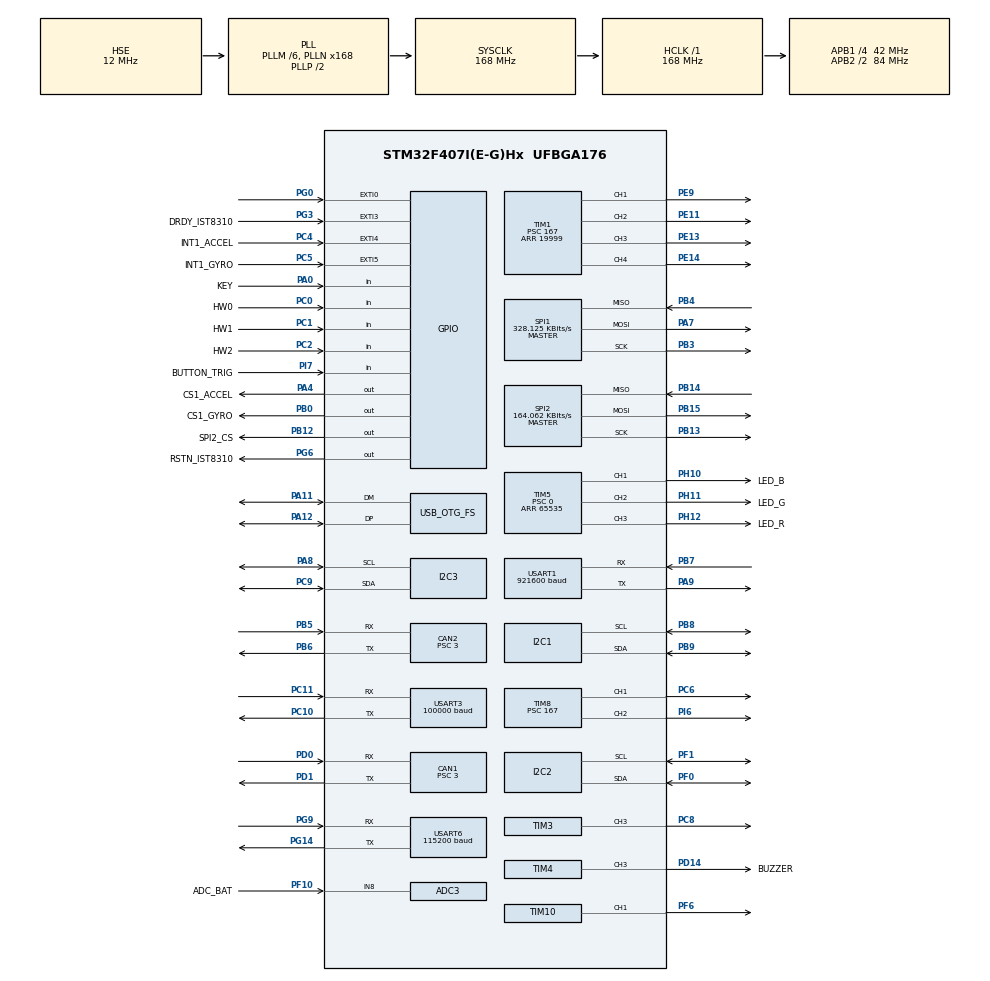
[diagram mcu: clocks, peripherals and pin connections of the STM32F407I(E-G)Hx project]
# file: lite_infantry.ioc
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ADC1.Channel-0\#ChannelRegularConversion=ADC_CHANNEL_TEMPSENSOR
ADC1.ClockPrescaler=ADC_CLOCK_SYNC_PCLK_DIV6
ADC1.NbrOfConversionFlag=1
ADC1.Rank-0\#ChannelRegularConversion=1
ADC1.SamplingTime-0\#ChannelRegularConversion=ADC_SAMPLETIME_3CYCLES
ADC1.master=1
ADC3.Channel-0\#ChannelRegularConversion=ADC_CHANNEL_8
ADC3.ClockPrescaler=ADC_CLOCK_SYNC_PCLK_DIV6
ADC3.NbrOfConversionFlag=1
ADC3.Rank-0\#ChannelRegularConversion=1
ADC3.SamplingTime-0\#ChannelRegularConversion=ADC_SAMPLETIME_3CYCLES
CAN1.BS1=CAN_BS1_10TQ
CAN1.BS2=CAN_BS2_3TQ
CAN1.CalculateBaudRate=1000000
CAN1.CalculateTimeBit=1000
CAN1.CalculateTimeQuantum=71.42857142857143
CAN1.Prescaler=3
CAN2.BS1=CAN_BS1_10TQ
CAN2.BS2=CAN_BS2_3TQ
CAN2.CalculateBaudRate=1000000
CAN2.CalculateTimeBit=1000
CAN2.CalculateTimeQuantum=71.42857142857143
CAN2.Prescaler=3
Dma.I2C2_TX.2.Direction=DMA_MEMORY_TO_PERIPH
Dma.I2C2_TX.2.FIFOMode=DMA_FIFOMODE_DISABLE
Dma.I2C2_TX.2.Instance=DMA1_Stream7
Dma.I2C2_TX.2.MemDataAlignment=DMA_MDATAALIGN_BYTE
Dma.I2C2_TX.2.MemInc=DMA_MINC_ENABLE
Dma.I2C2_TX.2.Mode=DMA_NORMAL
Dma.I2C2_TX.2.PeriphDataAlignment=DMA_PDATAALIGN_BYTE
Dma.I2C2_TX.2.PeriphInc=DMA_PINC_DISABLE
Dma.I2C2_TX.2.Priority=DMA_PRIORITY_HIGH
Dma.Request0=SPI1_RX
Dma.Request1=SPI1_TX
Dma.Request2=I2C2_TX
Dma.Request3=USART3_RX
Dma.Request4=USART6_RX
Dma.Request5=USART6_TX
Dma.Request6=USART1_TX
Dma.SPI1_RX.0.Direction=DMA_PERIPH_TO_MEMORY
Dma.SPI1_RX.0.FIFOMode=DMA_FIFOMODE_DISABLE
Dma.SPI1_RX.0.Instance=DMA2_Stream2
Dma.SPI1_RX.0.MemDataAlignment=DMA_MDATAALIGN_BYTE
Dma.SPI1_RX.0.MemInc=DMA_MINC_ENABLE
Dma.SPI1_RX.0.Mode=DMA_NORMAL
Dma.SPI1_RX.0.PeriphDataAlignment=DMA_PDATAALIGN_BYTE
Dma.SPI1_RX.0.PeriphInc=DMA_PINC_DISABLE
Dma.SPI1_RX.0.Priority=DMA_PRIORITY_VERY_HIGH
Dma.SPI1_TX.1.Direction=DMA_MEMORY_TO_PERIPH
Dma.SPI1_TX.1.FIFOMode=DMA_FIFOMODE_DISABLE
Dma.SPI1_TX.1.Instance=DMA2_Stream3
Dma.SPI1_TX.1.MemDataAlignment=DMA_MDATAALIGN_BYTE
Dma.SPI1_TX.1.MemInc=DMA_MINC_ENABLE
Dma.SPI1_TX.1.Mode=DMA_NORMAL
Dma.SPI1_TX.1.PeriphDataAlignment=DMA_PDATAALIGN_BYTE
Dma.SPI1_TX.1.PeriphInc=DMA_PINC_DISABLE
Dma.SPI1_TX.1.Priority=DMA_PRIORITY_HIGH
Dma.USART1_TX.6.Direction=DMA_MEMORY_TO_PERIPH
Dma.USART1_TX.6.FIFOMode=DMA_FIFOMODE_DISABLE
Dma.USART1_TX.6.Instance=DMA2_Stream7
Dma.USART1_TX.6.MemDataAlignment=DMA_MDATAALIGN_BYTE
Dma.USART1_TX.6.MemInc=DMA_MINC_ENABLE
Dma.USART1_TX.6.Mode=DMA_NORMAL
Dma.USART1_TX.6.PeriphDataAlignment=DMA_PDATAALIGN_BYTE
Dma.USART1_TX.6.PeriphInc=DMA_PINC_DISABLE
Dma.USART1_TX.6.Priority=DMA_PRIORITY_MEDIUM
Dma.USART3_RX.3.Direction=DMA_PERIPH_TO_MEMORY
Dma.USART3_RX.3.FIFOMode=DMA_FIFOMODE_DISABLE
Dma.USART3_RX.3.Instance=DMA1_Stream1
Dma.USART3_RX.3.MemDataAlignment=DMA_MDATAALIGN_BYTE
Dma.USART3_RX.3.MemInc=DMA_MINC_ENABLE
Dma.USART3_RX.3.Mode=DMA_NORMAL
Dma.USART3_RX.3.PeriphDataAlignment=DMA_PDATAALIGN_BYTE
Dma.USART3_RX.3.PeriphInc=DMA_PINC_DISABLE
Dma.USART3_RX.3.Priority=DMA_PRIORITY_HIGH
Dma.USART6_RX.4.Direction=DMA_PERIPH_TO_MEMORY
Dma.USART6_RX.4.FIFOMode=DMA_FIFOMODE_DISABLE
Dma.USART6_RX.4.Instance=DMA2_Stream1
Dma.USART6_RX.4.MemDataAlignment=DMA_MDATAALIGN_BYTE
Dma.USART6_RX.4.MemInc=DMA_MINC_ENABLE
Dma.USART6_RX.4.Mode=DMA_NORMAL
Dma.USART6_RX.4.PeriphDataAlignment=DMA_PDATAALIGN_BYTE
Dma.USART6_RX.4.PeriphInc=DMA_PINC_DISABLE
Dma.USART6_RX.4.Priority=DMA_PRIORITY_HIGH
Dma.USART6_TX.5.Direction=DMA_MEMORY_TO_PERIPH
Dma.USART6_TX.5.FIFOMode=DMA_FIFOMODE_DISABLE
Dma.USART6_TX.5.Instance=DMA2_Stream6
Dma.USART6_TX.5.MemDataAlignment=DMA_MDATAALIGN_BYTE
Dma.USART6_TX.5.MemInc=DMA_MINC_ENABLE
Dma.USART6_TX.5.Mode=DMA_NORMAL
Dma.USART6_TX.5.PeriphDataAlignment=DMA_PDATAALIGN_BYTE
Dma.USART6_TX.5.PeriphInc=DMA_PINC_DISABLE
Dma.USART6_TX.5.Priority=DMA_PRIORITY_MEDIUM
FREERTOS.INCLUDE_eTaskGetState=1
FREERTOS.INCLUDE_pcTaskGetTaskName=1
FREERTOS.INCLUDE_uxTaskGetStackHighWaterMark=1
FREERTOS.INCLUDE_vTaskCleanUpResources=1
FREERTOS.INCLUDE_vTaskDelayUntil=1
FREERTOS.INCLUDE_xEventGroupSetBitFromISR=1
FREERTOS.INCLUDE_xQueueGetMutexHolder=1
FREERTOS.INCLUDE_xSemaphoreGetMutexHolder=1
FREERTOS.INCLUDE_xTaskAbortDelay=1
FREERTOS.INCLUDE_xTaskGetCurrentTaskHandle=1
FREERTOS.INCLUDE_xTaskGetHandle=1
FREERTOS.INCLUDE_xTimerPendFunctionCall=1
FREERTOS.Tasks01=test,24,128,test_task,As weak,NULL,Dynamic,NULL,NULL
FREERTOS.configTOTAL_HEAP_SIZE=24576
I2C1.I2C_Mode=I2C_Fast
I2C2.I2C_Mode=I2C_Fast
I2C3.I2C_Mode=I2C_Fast
Mcu.Family=STM32F4
Mcu.Name=STM32F407I(E-G)Hx
Mcu.Package=UFBGA176
NVIC.CAN1_RX0_IRQn=true\:6\:0\:true\:false\:true\:true\:true\:true\:true
NVIC.CAN2_RX1_IRQn=true\:5\:0\:false\:false\:true\:true\:true\:true\:true
NVIC.DMA1_Stream1_IRQn=true\:5\:0\:true\:false\:false\:true\:false\:false\:true
NVIC.DMA1_Stream7_IRQn=true\:5\:0\:true\:false\:false\:true\:false\:true\:true
NVIC.DMA2_Stream1_IRQn=true\:5\:0\:true\:false\:true\:true\:false\:true\:true
NVIC.DMA2_Stream2_IRQn=true\:5\:0\:true\:false\:false\:true\:false\:true\:true
NVIC.DMA2_Stream3_IRQn=true\:5\:0\:true\:false\:false\:true\:false\:true\:true
NVIC.DMA2_Stream6_IRQn=true\:5\:0\:true\:false\:true\:true\:false\:true\:true
NVIC.DMA2_Stream7_IRQn=true\:5\:0\:true\:false\:true\:true\:false\:true\:true
NVIC.EXTI0_IRQn=true\:6\:0\:true\:false\:true\:true\:true\:true\:true
NVIC.EXTI3_IRQn=true\:5\:0\:true\:false\:true\:true\:true\:true\:true
NVIC.EXTI4_IRQn=true\:5\:0\:true\:false\:true\:true\:true\:true\:true
NVIC.EXTI9_5_IRQn=true\:5\:0\:true\:false\:true\:true\:true\:true\:true
NVIC.OTG_FS_IRQn=true\:5\:0\:false\:false\:true\:true\:false\:true\:true
NVIC.PriorityGroup=NVIC_PRIORITYGROUP_4
NVIC.USART1_IRQn=true\:5\:0\:false\:false\:true\:true\:true\:true\:true
NVIC.USART3_IRQn=true\:4\:0\:true\:false\:false\:false\:true\:true\:true
NVIC.USART6_IRQn=true\:5\:0\:true\:false\:false\:true\:true\:true\:true
PA0-WKUP.GPIO_Label=KEY
PA0-WKUP.GPIO_PuPd=GPIO_PULLUP
PA0-WKUP.Signal=GPIO_Input
PA11.Mode=Device_Only
PA11.Signal=USB_OTG_FS_DM
PA12.Mode=Device_Only
PA12.Signal=USB_OTG_FS_DP
PA13.Mode=Serial_Wire
PA13.Signal=SYS_JTMS-SWDIO
PA14.Mode=Serial_Wire
PA14.Signal=SYS_JTCK-SWCLK
PA4.GPIO_Label=CS1_ACCEL
PA4.GPIO_PuPd=GPIO_PULLUP
PA4.GPIO_Speed=GPIO_SPEED_FREQ_HIGH
PA4.PinState=GPIO_PIN_SET
PA4.Signal=GPIO_Output
PA7.GPIO_PuPd=GPIO_PULLUP
PA7.Mode=Full_Duplex_Master
PA7.Signal=SPI1_MOSI
PA8.GPIO_Pu=GPIO_PULLUP
PA8.Mode=I2C
PA8.Signal=I2C3_SCL
PA9.Mode=Asynchronous
PA9.Signal=USART1_TX
PB0.GPIO_Label=CS1_GYRO
PB0.GPIO_PuPd=GPIO_PULLUP
PB0.GPIO_Speed=GPIO_SPEED_FREQ_HIGH
PB0.PinState=GPIO_PIN_SET
PB0.Signal=GPIO_Output
PB12.GPIO_Label=SPI2_CS
PB12.GPIO_PuPd=GPIO_PULLUP
PB12.GPIO_Speed=GPIO_SPEED_FREQ_MEDIUM
PB12.PinState=GPIO_PIN_SET
PB12.Signal=GPIO_Output
PB13.GPIO_PuPd=GPIO_PULLUP
PB13.Mode=Full_Duplex_Master
PB13.Signal=SPI2_SCK
PB14.GPIO_PuPd=GPIO_PULLUP
PB14.Mode=Full_Duplex_Master
PB14.Signal=SPI2_MISO
PB15.GPIO_PuPd=GPIO_PULLUP
PB15.Mode=Full_Duplex_Master
PB15.Signal=SPI2_MOSI
PB3.GPIO_PuPd=GPIO_PULLUP
PB3.Mode=Full_Duplex_Master
PB3.Signal=SPI1_SCK
PB4.GPIO_PuPd=GPIO_PULLUP
PB4.Mode=Full_Duplex_Master
PB4.Signal=SPI1_MISO
PB5.Mode=CAN_Activate
PB5.Signal=CAN2_RX
PB6.Mode=CAN_Activate
PB6.Signal=CAN2_TX
PB7.Mode=Asynchronous
PB7.Signal=USART1_RX
PB8.GPIO_Pu=GPIO_PULLUP
PB8.Mode=I2C
PB8.Signal=I2C1_SCL
PB9.GPIO_Pu=GPIO_PULLUP
PB9.Mode=I2C
PB9.Signal=I2C1_SDA
PC0.GPIO_Label=HW0
PC0.Signal=GPIO_Input
PC1.GPIO_Label=HW1
PC1.Signal=GPIO_Input
PC10.Mode=Asynchronous
PC10.Signal=USART3_TX
PC11.Mode=Asynchronous
PC11.Signal=USART3_RX
PC2.GPIO_Label=HW2
PC2.Signal=GPIO_Input
PC4.GPIO_Label=INT1_ACCEL
PC4.GPIO_ModeDefaultEXTI=GPIO_MODE_IT_FALLING
PC4.GPIO_PuPd=GPIO_PULLUP
PC4.Signal=GPXTI4
PC5.GPIO_Label=INT1_GYRO
PC5.GPIO_ModeDefaultEXTI=GPIO_MODE_IT_FALLING
PC5.GPIO_PuPd=GPIO_PULLUP
PC5.Signal=GPXTI5
PC6.GPIO_PuPd=GPIO_PULLUP
PC6.GPIO_Speed=GPIO_SPEED_FREQ_HIGH
PC6.Signal=S_TIM8_CH1
PC8.GPIO_PuPd=GPIO_PULLUP
PC8.GPIO_Speed=GPIO_SPEED_FREQ_HIGH
PC8.Signal=S_TIM3_CH3
PC9.GPIO_Pu=GPIO_PULLUP
PC9.Mode=I2C
PC9.Signal=I2C3_SDA
PD0.Mode=CAN_Activate
PD0.Signal=CAN1_RX
PD1.Mode=CAN_Activate
PD1.Signal=CAN1_TX
PD14.GPIO_Label=BUZZER
PD14.GPIO_PuPd=GPIO_PULLUP
PD14.GPIO_Speed=GPIO_SPEED_FREQ_VERY_HIGH
PD14.Signal=S_TIM4_CH3
PE11.GPIO_PuPd=GPIO_PULLUP
PE11.GPIO_Speed=GPIO_SPEED_FREQ_HIGH
PE11.Signal=S_TIM1_CH2
PE13.GPIO_PuPd=GPIO_PULLUP
PE13.GPIO_Speed=GPIO_SPEED_FREQ_HIGH
PE13.Signal=S_TIM1_CH3
PE14.GPIO_PuPd=GPIO_PULLUP
PE14.GPIO_Speed=GPIO_SPEED_FREQ_HIGH
PE14.Signal=S_TIM1_CH4
PE9.GPIO_PuPd=GPIO_PULLUP
PE9.GPIO_Speed=GPIO_SPEED_FREQ_HIGH
PE9.Signal=S_TIM1_CH1
PF0.GPIO_Pu=GPIO_PULLUP
PF0.Mode=I2C
PF0.Signal=I2C2_SDA
PF1.GPIO_Pu=GPIO_PULLUP
PF1.Mode=I2C
PF1.Signal=I2C2_SCL
PF10.GPIO_Label=ADC_BAT
PF10.Mode=IN8
PF10.Signal=ADC3_IN8
PF6.GPIO_PuPd=GPIO_PULLUP
PF6.GPIO_Speed=GPIO_SPEED_FREQ_HIGH
PF6.Signal=S_TIM10_CH1
PG0.GPIO_ModeDefaultEXTI=GPIO_MODE_IT_FALLING
PG0.GPIO_PuPd=GPIO_PULLUP
PG0.Signal=GPXTI0
PG14.Mode=Asynchronous
PG14.Signal=USART6_TX
PG3.GPIO_Label=DRDY_IST8310
PG3.GPIO_ModeDefaultEXTI=GPIO_MODE_IT_FALLING
PG3.GPIO_PuPd=GPIO_PULLUP
PG3.Signal=GPXTI3
PG6.GPIO_Label=RSTN_IST8310
PG6.GPIO_PuPd=GPIO_PULLUP
PG6.GPIO_Speed=GPIO_SPEED_FREQ_MEDIUM
PG6.PinState=GPIO_PIN_SET
PG6.Signal=GPIO_Output
PG9.Mode=Asynchronous
PG9.Signal=USART6_RX
PH0-OSC_IN.Mode=HSE-External-Oscillator
PH0-OSC_IN.Signal=RCC_OSC_IN
PH1-OSC_OUT.Mode=HSE-External-Oscillator
PH1-OSC_OUT.Signal=RCC_OSC_OUT
PH10.GPIO_Label=LED_B
PH10.GPIO_PuPd=GPIO_PULLUP
PH10.GPIO_Speed=GPIO_SPEED_FREQ_HIGH
PH10.Signal=S_TIM5_CH1
PH11.GPIO_Label=LED_G
PH11.GPIO_PuPd=GPIO_PULLUP
PH11.GPIO_Speed=GPIO_SPEED_FREQ_HIGH
PH11.Signal=S_TIM5_CH2
PH12.GPIO_Label=LED_R
PH12.GPIO_PuPd=GPIO_PULLUP
PH12.GPIO_Speed=GPIO_SPEED_FREQ_HIGH
PH12.Signal=S_TIM5_CH3
PI6.GPIO_PuPd=GPIO_PULLUP
PI6.GPIO_Speed=GPIO_SPEED_FREQ_HIGH
PI6.Signal=S_TIM8_CH2
PI7.GPIO_Label=BUTTON_TRIG
PI7.GPIO_PuPd=GPIO_PULLUP
PI7.Signal=GPIO_Input
ProjectManager.HeapSize=0x2000
ProjectManager.StackSize=0x2000
ProjectManager.TargetToolchain=Makefile
RCC.48MHZClocksFreq_Value=48000000
RCC.AHBFreq_Value=168000000
RCC.APB1CLKDivider=RCC_HCLK_DIV4
RCC.APB1Freq_Value=42000000
RCC.APB1TimFreq_Value=84000000
RCC.APB2CLKDivider=RCC_HCLK_DIV2
RCC.APB2Freq_Value=84000000
RCC.APB2TimFreq_Value=168000000
RCC.CortexFreq_Value=168000000
RCC.HCLKFreq_Value=168000000
RCC.HSE_VALUE=12000000
RCC.HSI_VALUE=16000000
RCC.LSE_VALUE=32768
RCC.PLLM=6
RCC.PLLN=168
RCC.PLLQ=7
RCC.RCC_RTC_Clock_SourceVirtual=RCC_RTCCLKSOURCE_HSE_DIV30
RCC.RCC_RTC_Clock_Source_FROM_HSE=RCC_RTCCLKSOURCE_HSE_DIV30
RCC.SYSCLKFreq_VALUE=168000000
RCC.SYSCLKSource=RCC_SYSCLKSOURCE_PLLCLK
RCC.VCOOutputFreq_Value=336000000
RTC.AsynchPrediv=124
RTC.SynchPrediv=3199
SH.S_TIM10_CH1.0=TIM10_CH1,PWM Generation1 CH1
SH.S_TIM1_CH1.0=TIM1_CH1,PWM Generation1 CH1
SH.S_TIM1_CH2.0=TIM1_CH2,PWM Generation2 CH2
SH.S_TIM1_CH3.0=TIM1_CH3,PWM Generation3 CH3
SH.S_TIM1_CH4.0=TIM1_CH4,PWM Generation4 CH4
SH.S_TIM3_CH3.0=TIM3_CH3,PWM Generation3 CH3
SH.S_TIM4_CH3.0=TIM4_CH3,PWM Generation3 CH3
SH.S_TIM5_CH1.0=TIM5_CH1,PWM Generation1 CH1
SH.S_TIM5_CH2.0=TIM5_CH2,PWM Generation2 CH2
SH.S_TIM5_CH3.0=TIM5_CH3,PWM Generation3 CH3
SH.S_TIM8_CH1.0=TIM8_CH1,PWM Generation1 CH1
SH.S_TIM8_CH2.0=TIM8_CH2,PWM Generation2 CH2
SPI1.BaudRatePrescaler=SPI_BAUDRATEPRESCALER_256
SPI1.CLKPhase=SPI_PHASE_2EDGE
SPI1.CLKPolarity=SPI_POLARITY_HIGH
SPI1.CalculateBaudRate=328.125 KBits/s
SPI1.Direction=SPI_DIRECTION_2LINES
SPI1.Mode=SPI_MODE_MASTER
SPI1.VirtualType=VM_MASTER
SPI2.BaudRatePrescaler=SPI_BAUDRATEPRESCALER_256
SPI2.CLKPhase=SPI_PHASE_2EDGE
SPI2.CLKPolarity=SPI_POLARITY_HIGH
SPI2.CalculateBaudRate=164.062 KBits/s
SPI2.Direction=SPI_DIRECTION_2LINES
SPI2.Mode=SPI_MODE_MASTER
SPI2.VirtualType=VM_MASTER
TIM1.Channel-PWM\ Generation1\ CH1=TIM_CHANNEL_1
TIM1.Channel-PWM\ Generation2\ CH2=TIM_CHANNEL_2
TIM1.Channel-PWM\ Generation3\ CH3=TIM_CHANNEL_3
TIM1.Channel-PWM\ Generation4\ CH4=TIM_CHANNEL_4
TIM1.Period=19999
TIM1.Prescaler=167
TIM1.Pulse-PWM\ Generation1\ CH1=1000
TIM1.Pulse-PWM\ Generation2\ CH2=1000
TIM1.Pulse-PWM\ Generation3\ CH3=1000
TIM1.Pulse-PWM\ Generation4\ CH4=1000
TIM10.Channel=TIM_CHANNEL_1
TIM10.OCPolarity_1=TIM_OCPOLARITY_HIGH
TIM10.Period=4999
TIM3.Channel-PWM\ Generation3\ CH3=TIM_CHANNEL_3
TIM3.Period=8399
TIM4.Channel-PWM\ Generation3\ CH3=TIM_CHANNEL_3
TIM4.Period=65535
TIM4.Prescaler=167
TIM5.AutoReloadPreload=TIM_AUTORELOAD_PRELOAD_DISABLE
TIM5.Channel-PWM\ Generation1\ CH1=TIM_CHANNEL_1
TIM5.Channel-PWM\ Generation2\ CH2=TIM_CHANNEL_2
TIM5.Channel-PWM\ Generation3\ CH3=TIM_CHANNEL_3
TIM5.Period=65535
TIM5.Prescaler=0
TIM8.Channel-PWM\ Generation1\ CH1=TIM_CHANNEL_1
TIM8.Channel-PWM\ Generation2\ CH2=TIM_CHANNEL_2
TIM8.Period=19999
TIM8.Prescaler=167
TIM8.Pulse-PWM\ Generation1\ CH1=1000
TIM8.Pulse-PWM\ Generation2\ CH2=1000
USART1.BaudRate=921600
USART1.VirtualMode=VM_ASYNC
USART3.BaudRate=100000
USART3.Parity=PARITY_EVEN
USART3.VirtualMode=VM_ASYNC
USART6.BaudRate=115200
USART6.VirtualMode=VM_ASYNC
USB_DEVICE.CLASS_NAME_FS=CDC
USB_DEVICE.VirtualMode-CDC_FS=Cdc
USB_DEVICE.VirtualModeFS=Cdc_FS
USB_OTG_FS.VirtualMode=Device_Only
VP_ADC1_TempSens_Input.Mode=IN-TempSens
VP_ADC1_Vref_Input.Mode=IN-Vrefint
VP_CRC_VS_CRC.Mode=CRC_Activate
VP_FREERTOS_VS_CMSIS_V1.Mode=CMSIS_V1
VP_RNG_VS_RNG.Mode=RNG_Activate
VP_RTC_VS_RTC_Activate.Mode=RTC_Enabled
VP_TIM10_VS_ClockSourceINT.Mode=Enable_Timer
VP_TIM1_VS_ClockSourceINT.Mode=Internal
VP_TIM3_VS_ClockSourceINT.Mode=Internal
VP_TIM4_VS_ClockSourceINT.Mode=Internal
VP_TIM5_VS_ClockSourceINT.Mode=Internal
VP_TIM8_VS_ClockSourceINT.Mode=Internal
VP_USB_DEVICE_VS_USB_DEVICE_CDC_FS.Mode=CDC_FS
board=custom

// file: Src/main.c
/* USER CODE BEGIN Header */
/**
 ******************************************************************************
 * @file           : main.c
 * @brief          : Main program body
 ******************************************************************************
 * @attention
 *
 * Copyright (c) 2023 STMicroelectronics.
 * All rights reserved.
 *
 * This software is licensed under terms that can be found in the LICENSE file
 * in the root directory of this software component.
 * If no LICENSE file comes with this software, it is provided AS-IS.
 *
 ******************************************************************************
 */
/* USER CODE END Header */
#include "main.h"
#include "cmsis_os.h"
#include "adc.h"
#include "can.h"
#include "crc.h"
#include "dma.h"
#include "i2c.h"
#include "rng.h"
#include "rtc.h"
#include "spi.h"
#include "tim.h"
#include "usart.h"
#include "usb_device.h"
#include "gpio.h"

/* USER CODE BEGIN Includes */
#include "bsp_buzzer.h"
#include "bsp_can.h"
#include "bsp_delay.h"
#include "bsp_usart.h"
#include "bsp_imu_pwm.h"
// TODO
#include "bsp_flash.h"
#include "remote_control.h"

#include "calibrate_task.h"
#include "chassis_task.h"
#include "detect_task.h"
#include "gimbal_task.h"
#include "INS_task.h"
#include "led_flow_task.h"
#include "referee_usart_task.h"
#include "usb_task.h"
#include "voltage_task.h"
/* USER CODE END Includes */

void SystemClock_Config(void);
void MX_FREERTOS_Init(void);

int main(void)
{

  /* MCU Configuration--------------------------------------------------------*/

  /* Reset of all peripherals, Initializes the Flash interface and the Systick. */
  HAL_Init();

  /* USER CODE BEGIN Init */
    HAL_RCC_DeInit();
  /* USER CODE END Init */

  /* Configure the system clock */
  SystemClock_Config();

  /* Initialize all configured peripherals */
  MX_GPIO_Init();
  MX_DMA_Init();
  MX_ADC1_Init();
  MX_ADC3_Init();
  MX_CAN1_Init();
  MX_CAN2_Init();
  MX_I2C1_Init();
  MX_SPI1_Init();
  MX_TIM4_Init();
  MX_TIM5_Init();
  MX_USART3_UART_Init();
  MX_TIM8_Init();
  MX_CRC_Init();
  MX_RNG_Init();
  MX_I2C2_Init();
  MX_I2C3_Init();
  MX_RTC_Init();
  MX_SPI2_Init();
  MX_TIM1_Init();
  MX_TIM3_Init();
  MX_TIM10_Init();
  MX_USART1_UART_Init();
  MX_USART6_UART_Init();
  /* USER CODE BEGIN 2 */
    imu_pwm_init();
    buzzer_init();
    can_filter_init();
    delay_init();
    cali_param_init();
    remote_control_init();

  /* USER CODE END 2 */

  /* Call init function for freertos objects (in freertos.c) */
  MX_FREERTOS_Init();

  /* Start scheduler */
  osKernelStart();

  /* We should never get here as control is now taken by the scheduler */
  /* Infinite loop */
    while (1) {

    }
}

void SystemClock_Config(void)
{
  RCC_OscInitTypeDef RCC_OscInitStruct = {0};
  RCC_ClkInitTypeDef RCC_ClkInitStruct = {0};

  /** Configure the main internal regulator output voltage
  */
  __HAL_RCC_PWR_CLK_ENABLE();
  __HAL_PWR_VOLTAGESCALING_CONFIG(PWR_REGULATOR_VOLTAGE_SCALE1);

  /** Initializes the RCC Oscillators according to the specified parameters
  * in the RCC_OscInitTypeDef structure.
  */
  RCC_OscInitStruct.OscillatorType = RCC_OSCILLATORTYPE_HSE;
  RCC_OscInitStruct.HSEState = RCC_HSE_ON;
  RCC_OscInitStruct.PLL.PLLState = RCC_PLL_ON;
  RCC_OscInitStruct.PLL.PLLSource = RCC_PLLSOURCE_HSE;
  RCC_OscInitStruct.PLL.PLLM = 6;
  RCC_OscInitStruct.PLL.PLLN = 168;
  RCC_OscInitStruct.PLL.PLLP = RCC_PLLP_DIV2;
  RCC_OscInitStruct.PLL.PLLQ = 7;
  if (HAL_RCC_OscConfig(&RCC_OscInitStruct) != HAL_OK)
  {
    Error_Handler();
  }

  /** Initializes the CPU, AHB and APB buses clocks
  */
  RCC_ClkInitStruct.ClockType = RCC_CLOCKTYPE_HCLK|RCC_CLOCKTYPE_SYSCLK
                              |RCC_CLOCKTYPE_PCLK1|RCC_CLOCKTYPE_PCLK2;
  RCC_ClkInitStruct.SYSCLKSource = RCC_SYSCLKSOURCE_PLLCLK;
  RCC_ClkInitStruct.AHBCLKDivider = RCC_SYSCLK_DIV1;
  RCC_ClkInitStruct.APB1CLKDivider = RCC_HCLK_DIV4;
  RCC_ClkInitStruct.APB2CLKDivider = RCC_HCLK_DIV2;

  if (HAL_RCC_ClockConfig(&RCC_ClkInitStruct, FLASH_LATENCY_5) != HAL_OK)
  {
    Error_Handler();
  }
}

void Error_Handler(void)
{
    __disable_irq();
    while (1) {
    }
}

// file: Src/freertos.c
/* USER CODE BEGIN Header */
/**
 ******************************************************************************
 * File Name          : freertos.c
 * Description        : Code for freertos applications
 ******************************************************************************
 * @attention
 *
 * Copyright (c) 2023 STMicroelectronics.
 * All rights reserved.
 *
 * This software is licensed under terms that can be found in the LICENSE file
 * in the root directory of this software component.
 * If no LICENSE file comes with this software, it is provided AS-IS.
 *
 ******************************************************************************
 */
/* USER CODE END Header */

#include "FreeRTOS.h"
#include "task.h"
#include "main.h"
#include "cmsis_os.h"

/* USER CODE BEGIN Includes */
#include "calibrate_task.h"
#include "chassis_task.h"
#include "detect_task.h"
#include "gimbal_task.h"
#include "INS_task.h"
#include "led_flow_task.h"
#include "referee_usart_task.h"
#include "usb_task.h"
#include "voltage_task.h"
#include "servo_task.h"
#include "shoot_task.h"
#include "superC_can_task.h"
#include "custom_ui_task.h"
#include "auto_aim_task.h"
/* USER CODE END Includes */

/* USER CODE BEGIN Variables */
osThreadId calibrate_tast_handle;
osThreadId chassisTaskHandle;
osThreadId detect_handle;
osThreadId gimbalTaskHandle;
osThreadId imuTaskHandle;
osThreadId led_RGB_flow_handle;
osThreadId oled_handle;
osThreadId referee_usart_task_handle;
osThreadId usb_task_handle;
osThreadId battery_voltage_handle;
osThreadId servo_task_handle;
osThreadId shootTaskHandle;
osThreadId superC_can_task_handle;
osThreadId custom_ui_task_hanele;
osThreadId auto_aim_task_handle;
/* USER CODE END Variables */
osThreadId testHandle;

void test_task(void const *argument);

extern void MX_USB_DEVICE_Init(void);
void MX_FREERTOS_Init(void); /* (MISRA C 2004 rule 8.1) */

/* GetIdleTaskMemory prototype (linked to static allocation support) */
void vApplicationGetIdleTaskMemory(StaticTask_t **ppxIdleTaskTCBBuffer, StackType_t **ppxIdleTaskStackBuffer, uint32_t *pulIdleTaskStackSize);

/* GetTimerTaskMemory prototype (linked to static allocation support) */
void vApplicationGetTimerTaskMemory(StaticTask_t **ppxTimerTaskTCBBuffer, StackType_t **ppxTimerTaskStackBuffer, uint32_t *pulTimerTaskStackSize);

/* USER CODE BEGIN GET_IDLE_TASK_MEMORY */
static StaticTask_t xIdleTaskTCBBuffer;
static StackType_t xIdleStack[configMINIMAL_STACK_SIZE];

void vApplicationGetIdleTaskMemory(StaticTask_t **ppxIdleTaskTCBBuffer, StackType_t **ppxIdleTaskStackBuffer, uint32_t *pulIdleTaskStackSize)
{
    *ppxIdleTaskTCBBuffer   = &xIdleTaskTCBBuffer;
    *ppxIdleTaskStackBuffer = &xIdleStack[0];
    *pulIdleTaskStackSize   = configMINIMAL_STACK_SIZE;
    /* place for user code */
}
/* USER CODE END GET_IDLE_TASK_MEMORY */

/* USER CODE BEGIN GET_TIMER_TASK_MEMORY */
static StaticTask_t xTimerTaskTCBBuffer;
static StackType_t xTimerStack[configTIMER_TASK_STACK_DEPTH];

void vApplicationGetTimerTaskMemory(StaticTask_t **ppxTimerTaskTCBBuffer, StackType_t **ppxTimerTaskStackBuffer, uint32_t *pulTimerTaskStackSize)
{
    *ppxTimerTaskTCBBuffer   = &xTimerTaskTCBBuffer;
    *ppxTimerTaskStackBuffer = &xTimerStack[0];
    *pulTimerTaskStackSize   = configTIMER_TASK_STACK_DEPTH;
    /* place for user code */
}
/* USER CODE END GET_TIMER_TASK_MEMORY */

void MX_FREERTOS_Init(void)
{

    /* Create the thread(s) */
    /* definition and creation of test */
    //   osThreadDef(test, test_task, osPriorityNormal, 0, 128);
    //   testHandle = osThreadCreate(osThread(test), NULL);

    /* USER CODE BEGIN RTOS_THREADS */
    /* add threads, ... */
    osThreadDef(cali, calibrate_task, osPriorityNormal, 0, 512);
    calibrate_tast_handle = osThreadCreate(osThread(cali), NULL);
    if (calibrate_tast_handle == NULL)
        Error_Handler();

    osThreadDef(ChassisTask, chassis_task, osPriorityAboveNormal, 0, 512);
    chassisTaskHandle = osThreadCreate(osThread(ChassisTask), NULL);
    if (chassisTaskHandle == NULL)
        Error_Handler();

    osThreadDef(DETECT, detect_task, osPriorityNormal, 0, 256);
    detect_handle = osThreadCreate(osThread(DETECT), NULL);
    if (detect_handle == NULL)
        Error_Handler();

    osThreadDef(gimbalTask, gimbal_task, osPriorityHigh, 0, 512);
    gimbalTaskHandle = osThreadCreate(osThread(gimbalTask), NULL);
    if (gimbalTaskHandle == NULL)
        Error_Handler();

    osThreadDef(shootTask, shoot_task, osPriorityNormal, 0, 512);
    shootTaskHandle = osThreadCreate(osThread(shootTask), NULL);
    if (shootTaskHandle == NULL)
        Error_Handler();

    osThreadDef(imuTask, INS_task, osPriorityRealtime, 0, 1024);
    imuTaskHandle = osThreadCreate(osThread(imuTask), NULL);
    if (imuTaskHandle == NULL)
        Error_Handler();

    osThreadDef(led, led_RGB_flow_task, osPriorityNormal, 0, 256);
    led_RGB_flow_handle = osThreadCreate(osThread(led), NULL);
    if (led_RGB_flow_handle == NULL)
        Error_Handler();

    osThreadDef(REFEREE, referee_usart_task, osPriorityNormal, 0, 128);
    referee_usart_task_handle = osThreadCreate(osThread(REFEREE), NULL);
    if (referee_usart_task_handle == NULL)
        Error_Handler();

    osThreadDef(SUPERC, superC_can_task, osPriorityNormal, 0, 128);
    superC_can_task_handle = osThreadCreate(osThread(SUPERC), NULL);
    if (superC_can_task_handle == NULL)
        Error_Handler();

    //自定义UI
    osThreadDef(UI, custom_ui_task, osPriorityNormal, 0, 128);
    custom_ui_task_hanele = osThreadCreate(osThread(UI), NULL);
    if (custom_ui_task_hanele == NULL)
        Error_Handler();

    //自瞄线程
    // osThreadDef(AUTOAIM, auto_aim_task, osPriorityNormal, 0, 128);
    // auto_aim_task_handle = osThreadCreate(osThread(AUTOAIM), NULL);
    // if (auto_aim_task_handle == NULL)
    //     Error_Handler();

    // osThreadDef(USBTask, usb_task, osPriorityNormal, 0, 128);
    // usb_task_handle = osThreadCreate(osThread(USBTask), NULL);
    // if (usb_task_handle == NULL)
    //     Error_Handler();

    // osThreadDef(BATTERY_VOLTAGE, battery_voltage_task, osPriorityNormal, 0, 128);
    // battery_voltage_handle = osThreadCreate(osThread(BATTERY_VOLTAGE), NULL);
    // if (battery_voltage_handle == NULL)
    //     Error_Handler();

    osThreadDef(SERVO, servo_task, osPriorityNormal, 0, 128);
    servo_task_handle = osThreadCreate(osThread(SERVO), NULL);
    if (servo_task_handle == NULL)
        Error_Handler();

    /* USER CODE END RTOS_THREADS */
}

__weak void test_task(void const *argument)
{
    /* init code for USB_DEVICE */
    MX_USB_DEVICE_Init();
    for (;;) {
        osDelay(1);
    }
}
